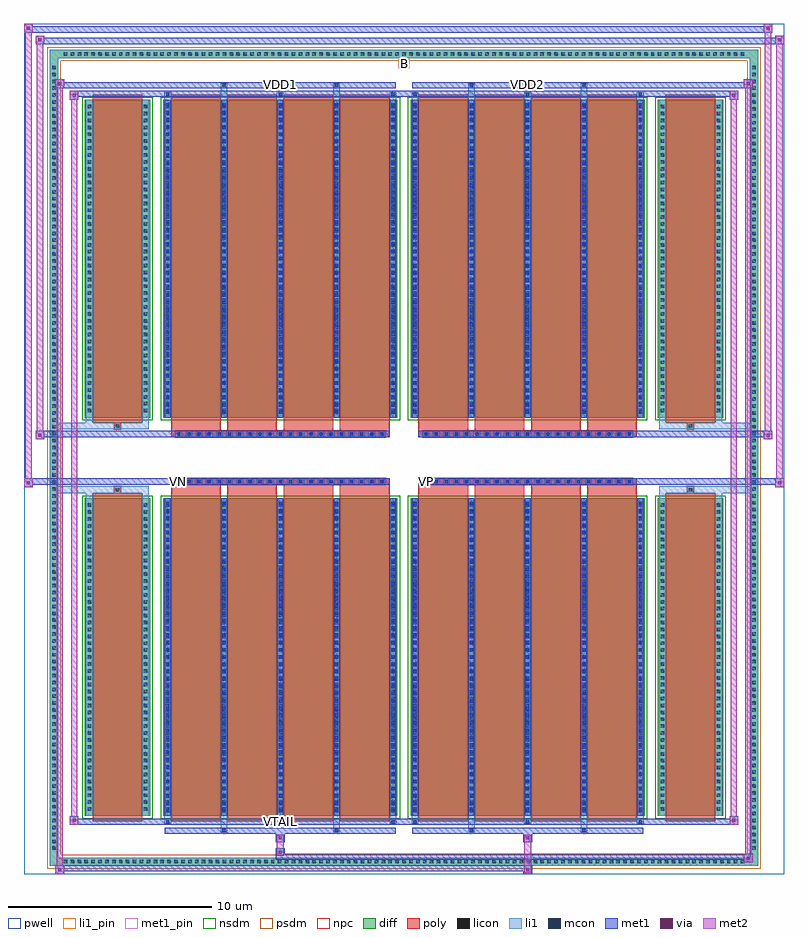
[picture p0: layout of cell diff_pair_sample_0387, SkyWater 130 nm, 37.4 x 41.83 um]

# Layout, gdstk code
import gdstk
lib = gdstk.Library(unit=1e-6, precision=5e-09)
def R(c, l, rs):  # rectangles x0, y0, x1, y1
    for r in rs: c.add(gdstk.rectangle(r[:2], r[2:], *l))
def A(c, l, x, y, w, h, nx, ny, dx, dy):  # array of equal rectangles
    R(c, l, [(x+i*dx, y+j*dy, x+i*dx+w, y+j*dy+h) for i in range(nx) for j in range(ny)])
def P(c, l, *ps):  # polygons
    for p in ps: c.add(gdstk.Polygon(p, *l))
pwell = (64, 44)
diff = (65, 20)
poly = (66, 20)
licon = (66, 44)
li1_pin = (67, 16)
li1 = (67, 20)
mcon = (67, 44)
met1_pin = (68, 16)
met1 = (68, 20)
via = (68, 44)
met2 = (69, 20)
nsdm = (93, 44)
psdm = (94, 20)
npc = (95, 20)

diff_pair_sample_0387 = lib.new_cell('diff_pair_sample_0387')
R(diff_pair_sample_0387, pwell, [(-18.7,-20.48,18.7,21.35), (-16.02,-18.67,-0.01,-0.805), (0.01,-18.67,16.02,-0.805), (-16.02,0.805,-0.01,18.67), (0.01,0.805,16.02,18.67)])
A(diff_pair_sample_0387, diff, -16.865, -20.08, 0.41, 0.41, 99, 2, 0.34, 39.75)
A(diff_pair_sample_0387, diff, -17.43, -19.415, 0.41, 0.41, 1, 114, 0, 0.34)
A(diff_pair_sample_0387, diff, 17.02, -19.415, 0.41, 0.41, 1, 114, 0, 0.34)
R(diff_pair_sample_0387, diff, [(-16.865,-20.08,16.865,-19.67), (-17.43,-19.415,-17.02,19.415), (17.02,-19.415,17.43,19.415), (-15.71,-17.625,-12.49,-1.985), (-11.85,-17.625,-0.32,-1.985), (0.32,-17.625,11.85,-1.985), (12.49,-17.625,15.71,-1.985), (-15.71,1.985,-12.49,17.625), (-11.85,1.985,-0.32,17.625), (0.32,1.985,11.85,17.625), (12.49,1.985,15.71,17.625), (-16.865,19.67,16.865,20.08)])
P(diff_pair_sample_0387, diff, [(17.43,20.08),(-17.43,20.08),(-17.43,-19.67),(-17.02,-19.67),(-17.02,19.67),(17.02,19.67),(17.02,-19.67),(-17.02,-19.67),(-17.43,-19.67),(-17.43,-20.08),(17.43,-20.08)])
A(diff_pair_sample_0387, poly, -11.46, -17.875, 2.44, 16.14, 4, 2, 2.77, 19.61)
A(diff_pair_sample_0387, poly, 0.71, -17.875, 2.44, 16.14, 4, 2, 2.77, 19.61)
A(diff_pair_sample_0387, poly, -11.46, -1.735, 2.44, 0.4, 4, 2, 2.77, 3.07)
A(diff_pair_sample_0387, poly, 0.71, -1.735, 2.44, 0.4, 4, 2, 2.77, 3.07)
A(diff_pair_sample_0387, poly, -11.25, -1.335, 0.33, 0.33, 21, 2, 0.5, 2.34)
A(diff_pair_sample_0387, poly, 0.92, -1.335, 0.33, 0.33, 21, 2, 0.5, 2.34)
R(diff_pair_sample_0387, poly, [(-15.32,-17.875,-12.88,-1.735), (12.88,-17.875,15.32,-1.735), (-14.265,-1.735,-13.935,-1.405), (-14.265,-1.735,-13.935,-1.405), (13.935,-1.735,14.265,-1.405), (13.935,-1.735,14.265,-1.405), (-11.46,-1.335,-0.71,-1.005), (0.71,-1.335,11.46,-1.005), (-11.46,1.005,-0.71,1.335), (0.71,1.005,11.46,1.335), (-14.265,1.405,-13.935,1.735), (-14.265,1.405,-13.935,1.735), (13.935,1.405,14.265,1.735), (13.935,1.405,14.265,1.735), (-15.32,1.735,-12.88,17.875), (12.88,1.735,15.32,17.875)])
A(diff_pair_sample_0387, licon, -16.745, -19.96, 0.17, 0.17, 99, 2, 0.34, 39.75)
A(diff_pair_sample_0387, licon, -17.31, -19.295, 0.17, 0.17, 1, 114, 0, 0.34)
A(diff_pair_sample_0387, licon, 17.14, -19.295, 0.17, 0.17, 1, 114, 0, 0.34)
A(diff_pair_sample_0387, licon, -15.57, -17.37, 0.17, 0.17, 1, 45, 0, 0.34)
A(diff_pair_sample_0387, licon, -12.8, -17.37, 0.17, 0.17, 1, 45, 0, 0.34)
A(diff_pair_sample_0387, licon, -11.71, -17.37, 0.17, 0.17, 5, 45, 2.77, 0.34)
A(diff_pair_sample_0387, licon, 0.46, -17.37, 0.17, 0.17, 5, 45, 2.77, 0.34)
A(diff_pair_sample_0387, licon, 12.63, -17.37, 0.17, 0.17, 1, 45, 0, 0.34)
A(diff_pair_sample_0387, licon, 15.4, -17.37, 0.17, 0.17, 1, 45, 0, 0.34)
A(diff_pair_sample_0387, licon, -11.17, -1.255, 0.17, 0.17, 21, 2, 0.5, 2.34)
A(diff_pair_sample_0387, licon, 1, -1.255, 0.17, 0.17, 21, 2, 0.5, 2.34)
A(diff_pair_sample_0387, licon, -15.57, 2.24, 0.17, 0.17, 1, 45, 0, 0.34)
A(diff_pair_sample_0387, licon, -12.8, 2.24, 0.17, 0.17, 1, 45, 0, 0.34)
A(diff_pair_sample_0387, licon, -11.71, 2.24, 0.17, 0.17, 5, 45, 2.77, 0.34)
A(diff_pair_sample_0387, licon, 0.46, 2.24, 0.17, 0.17, 5, 45, 2.77, 0.34)
A(diff_pair_sample_0387, licon, 12.63, 2.24, 0.17, 0.17, 1, 45, 0, 0.34)
A(diff_pair_sample_0387, licon, 15.4, 2.24, 0.17, 0.17, 1, 45, 0, 0.34)
R(diff_pair_sample_0387, licon, [(-14.185,-1.655,-14.015,-1.485), (14.015,-1.655,14.185,-1.485), (-14.185,1.485,-14.015,1.655), (14.015,1.485,14.185,1.655)])
R(diff_pair_sample_0387, li1_pin, [(-0.25,19.17,0.25,19.67)])
A(diff_pair_sample_0387, li1, -16.825, -20.04, 0.33, 0.33, 99, 2, 0.34, 39.75)
A(diff_pair_sample_0387, li1, -17.39, -19.375, 0.33, 0.33, 1, 114, 0, 0.34)
A(diff_pair_sample_0387, li1, 17.06, -19.375, 0.33, 0.33, 1, 114, 0, 0.34)
A(diff_pair_sample_0387, li1, -11.79, -18, 0.33, 0.375, 3, 2, 5.54, 35.625)
A(diff_pair_sample_0387, li1, -11.71, -18, 0.17, 0.17, 3, 2, 5.54, 35.83)
A(diff_pair_sample_0387, li1, 0.38, -18, 0.33, 0.375, 3, 2, 5.54, 35.625)
A(diff_pair_sample_0387, li1, 0.46, -18, 0.17, 0.17, 3, 2, 5.54, 35.83)
A(diff_pair_sample_0387, li1, -11.79, -17.625, 0.33, 15.64, 5, 2, 2.77, 19.61)
A(diff_pair_sample_0387, li1, 0.38, -17.625, 0.33, 15.64, 5, 2, 2.77, 19.61)
A(diff_pair_sample_0387, li1, -15.65, -17.45, 0.33, 0.33, 1, 45, 0, 0.34)
A(diff_pair_sample_0387, li1, -12.88, -17.45, 0.33, 0.33, 1, 45, 0, 0.34)
A(diff_pair_sample_0387, li1, -11.79, -17.45, 0.33, 0.33, 5, 45, 2.77, 0.34)
A(diff_pair_sample_0387, li1, -11.71, -17.45, 0.17, 0.17, 5, 43, 2.77, 0.36)
A(diff_pair_sample_0387, li1, -11.71, -17.45, 0.17, 15.29, 5, 2, 2.77, 19.61)
A(diff_pair_sample_0387, li1, 0.38, -17.45, 0.33, 0.33, 5, 45, 2.77, 0.34)
A(diff_pair_sample_0387, li1, 0.46, -17.45, 0.17, 0.17, 5, 43, 2.77, 0.36)
A(diff_pair_sample_0387, li1, 0.46, -17.45, 0.17, 15.29, 5, 2, 2.77, 19.61)
A(diff_pair_sample_0387, li1, 12.55, -17.45, 0.33, 0.33, 1, 45, 0, 0.34)
A(diff_pair_sample_0387, li1, 15.32, -17.45, 0.33, 0.33, 1, 45, 0, 0.34)
A(diff_pair_sample_0387, li1, -11.25, -1.335, 0.33, 0.33, 21, 2, 0.5, 2.34)
A(diff_pair_sample_0387, li1, 0.92, -1.335, 0.33, 0.33, 21, 2, 0.5, 2.34)
A(diff_pair_sample_0387, li1, -15.65, 2.16, 0.33, 0.33, 1, 45, 0, 0.34)
A(diff_pair_sample_0387, li1, -12.88, 2.16, 0.33, 0.33, 1, 45, 0, 0.34)
A(diff_pair_sample_0387, li1, -11.79, 2.16, 0.33, 0.33, 5, 45, 2.77, 0.34)
A(diff_pair_sample_0387, li1, -11.71, 2.16, 0.17, 0.17, 5, 43, 2.77, 0.36)
A(diff_pair_sample_0387, li1, 0.38, 2.16, 0.33, 0.33, 5, 45, 2.77, 0.34)
A(diff_pair_sample_0387, li1, 0.46, 2.16, 0.17, 0.17, 5, 43, 2.77, 0.36)
A(diff_pair_sample_0387, li1, 12.55, 2.16, 0.33, 0.33, 1, 45, 0, 0.34)
A(diff_pair_sample_0387, li1, 15.32, 2.16, 0.33, 0.33, 1, 45, 0, 0.34)
R(diff_pair_sample_0387, li1, [(-17.43,-20.08,-17.02,-19.67), (-17.43,-20.08,-17.02,-19.67), (-17.02,-20.08,17.02,-19.67), (17.02,-20.08,17.43,-19.67), (17.02,-20.08,17.43,-19.67), (-17.43,-19.67,-17.02,19.67), (17.02,-19.67,17.43,19.67), (-9.02,-18.43,-8.69,-17.625), (-8.94,-18.43,-8.77,-18.26), (-3.48,-18.43,-3.15,-17.625), (-3.4,-18.43,-3.23,-18.26), (3.15,-18.43,3.48,-17.625), (3.23,-18.43,3.4,-18.26), (8.69,-18.43,9.02,-17.625), (8.77,-18.43,8.94,-18.26), (-15.65,-17.625,-15.32,-1.985), (-12.88,-17.625,-12.55,-1.985), (12.55,-17.625,12.88,-1.985), (15.32,-17.625,15.65,-1.985), (-15.65,-1.985,-15.32,-1.405), (-12.88,-1.985,-12.55,-1.405), (12.55,-1.985,12.88,-1.405), (15.32,-1.985,15.65,-1.405), (-17.43,-1.735,-14.265,-1.405), (-15.65,-1.735,-14.265,-1.405), (-14.265,-1.735,-13.935,-1.405), (-13.935,-1.735,-12.55,-1.405), (12.55,-1.735,13.935,-1.405), (13.935,-1.735,14.265,-1.405), (13.935,-1.735,17.43,-1.405), (14.265,-1.735,15.65,-1.405), (-17.43,1.405,-14.265,1.735), (-15.65,1.405,-14.265,1.735), (-15.65,1.405,-15.32,1.985), (-14.265,1.405,-13.935,1.735), (-13.935,1.405,-12.55,1.735), (-12.88,1.405,-12.55,1.985), (12.55,1.405,13.935,1.735), (12.55,1.405,12.88,1.985), (13.935,1.405,14.265,1.735), (13.935,1.405,17.43,1.735), (14.265,1.405,15.65,1.735), (15.32,1.405,15.65,1.985), (-15.65,1.985,-15.32,17.625), (-12.88,1.985,-12.55,17.625), (12.55,1.985,12.88,17.625), (15.32,1.985,15.65,17.625), (-9.02,17.625,-8.69,18.43), (-3.48,17.625,-3.15,18.43), (3.15,17.625,3.48,18.43), (8.69,17.625,9.02,18.43), (-8.94,18.26,-8.77,18.43), (-3.4,18.26,-3.23,18.43), (3.23,18.26,3.4,18.43), (8.77,18.26,8.94,18.43), (-17.43,19.67,-17.02,20.08), (-17.43,19.67,-17.02,20.08), (-17.02,19.67,17.02,20.08), (17.02,19.67,17.43,20.08), (17.02,19.67,17.43,20.08)])
A(diff_pair_sample_0387, mcon, -11.71, -18, 0.17, 0.17, 3, 2, 5.54, 35.83)
A(diff_pair_sample_0387, mcon, 0.46, -18, 0.17, 0.17, 3, 2, 5.54, 35.83)
A(diff_pair_sample_0387, mcon, -11.71, -17.45, 0.17, 0.17, 5, 43, 2.77, 0.36)
A(diff_pair_sample_0387, mcon, 0.46, -17.45, 0.17, 0.17, 5, 43, 2.77, 0.36)
A(diff_pair_sample_0387, mcon, -11.17, -1.255, 0.17, 0.17, 21, 2, 0.5, 2.34)
A(diff_pair_sample_0387, mcon, 1, -1.255, 0.17, 0.17, 21, 2, 0.5, 2.34)
A(diff_pair_sample_0387, mcon, -11.71, 2.16, 0.17, 0.17, 5, 43, 2.77, 0.36)
A(diff_pair_sample_0387, mcon, 0.46, 2.16, 0.17, 0.17, 5, 43, 2.77, 0.36)
R(diff_pair_sample_0387, mcon, [(-8.94,-18.43,-8.77,-18.26), (-3.4,-18.43,-3.23,-18.26), (3.23,-18.43,3.4,-18.26), (8.77,-18.43,8.94,-18.26), (-8.94,18.26,-8.77,18.43), (-3.4,18.26,-3.23,18.43), (3.23,18.26,3.4,18.43), (8.77,18.26,8.94,18.43)])
R(diff_pair_sample_0387, met1_pin, [(-6.22,-18.04,-5.95,-17.77), (-11.22,-1.295,-10.95,-1.025), (0.95,-1.295,1.22,-1.025), (-6.22,18.22,-5.95,18.49), (5.95,18.22,6.22,18.49)])
A(diff_pair_sample_0387, met1, -11.77, -18.06, 0.29, 0.29, 3, 2, 5.54, 35.83)
A(diff_pair_sample_0387, met1, 0.4, -18.06, 0.29, 0.29, 3, 2, 5.54, 35.83)
A(diff_pair_sample_0387, met1, -11.77, -17.625, 0.29, 15.64, 5, 2, 2.77, 19.61)
A(diff_pair_sample_0387, met1, 0.4, -17.625, 0.29, 15.64, 5, 2, 2.77, 19.61)
A(diff_pair_sample_0387, met1, -11.77, -17.51, 0.29, 0.29, 5, 43, 2.77, 0.36)
A(diff_pair_sample_0387, met1, 0.4, -17.51, 0.29, 0.29, 5, 43, 2.77, 0.36)
A(diff_pair_sample_0387, met1, -11.23, -1.315, 0.29, 0.29, 21, 2, 0.5, 2.34)
A(diff_pair_sample_0387, met1, 0.94, -1.315, 0.29, 0.29, 21, 2, 0.5, 2.34)
A(diff_pair_sample_0387, met1, -11.77, 2.1, 0.29, 0.29, 5, 43, 2.77, 0.36)
A(diff_pair_sample_0387, met1, 0.4, 2.1, 0.29, 0.29, 5, 43, 2.77, 0.36)
R(diff_pair_sample_0387, met1, [(-17.16,-20.48,-16.73,-20.05), (5.87,-20.48,6.3,-20.05), (-17.16,-20.34,6.3,-20.05), (16.73,-19.91,17.16,-19.48), (-6.3,-19.77,17.16,-19.48), (-6.3,-19.63,-5.87,-19.2), (-6.3,-18.92,-5.87,-18.49), (5.87,-18.92,6.3,-18.49), (-11.77,-18.49,-0.4,-18.2), (-9,-18.49,-8.71,-18.2), (-3.46,-18.49,-3.17,-18.2), (0.4,-18.49,11.77,-18.2), (3.17,-18.49,3.46,-18.2), (8.71,-18.49,9,-18.2), (-16.45,-18.06,-16.02,-17.63), (-16.45,-18.06,-11.77,-17.77), (-11.77,-18.06,-0.4,-17.77), (-0.4,-18.06,0.4,-17.77), (0.4,-18.06,11.77,-17.77), (11.77,-18.06,16.45,-17.77), (16.02,-18.06,16.45,-17.63), (-18.7,-1.435,-18.27,-1.005), (18.27,-1.435,18.7,-1.005), (-18.7,-1.335,-0.71,-1.005), (-11.46,-1.335,-0.71,-1.005), (0.71,-1.335,11.46,-1.005), (0.71,-1.335,18.7,-1.005), (-18.13,0.905,-17.7,1.335), (17.7,0.905,18.13,1.335), (-18.13,1.005,-11.46,1.335), (-11.46,1.005,-0.71,1.335), (0.71,1.005,11.46,1.335), (11.46,1.005,18.13,1.335), (-16.45,17.63,-16.02,18.06), (16.02,17.63,16.45,18.06), (-16.45,17.77,-11.77,18.06), (-11.77,17.77,-0.4,18.06), (-0.4,17.77,0.4,18.06), (0.4,17.77,11.77,18.06), (11.77,17.77,16.45,18.06), (-17.16,18.2,-16.73,18.63), (-17.16,18.2,-11.77,18.49), (-11.77,18.2,-0.4,18.49), (-9,18.2,-8.71,18.49), (-3.46,18.2,-3.17,18.49), (0.4,18.2,11.77,18.49), (3.17,18.2,3.46,18.49), (8.71,18.2,9,18.49), (11.77,18.2,17.16,18.49), (16.73,18.2,17.16,18.63), (-18.13,20.35,-17.7,20.78), (-18.13,20.35,-16.02,20.68), (-16.02,20.35,16.02,20.68), (16.02,20.35,18.7,20.68), (18.27,20.35,18.7,20.78), (-18.7,20.92,-18.27,21.35), (-18.7,20.92,-16.02,21.25), (-16.02,20.92,16.02,21.25), (16.02,20.92,18.13,21.25), (17.7,20.92,18.13,21.35)])
R(diff_pair_sample_0387, via, [(-17.02,-20.34,-16.87,-20.19), (6.01,-20.34,6.16,-20.19), (16.87,-19.77,17.02,-19.62), (-6.16,-19.49,-6.01,-19.34), (-6.16,-18.78,-6.01,-18.63), (6.01,-18.78,6.16,-18.63), (-16.31,-17.92,-16.16,-17.77), (16.16,-17.92,16.31,-17.77), (-18.56,-1.295,-18.41,-1.145), (18.41,-1.295,18.56,-1.145), (-17.99,1.045,-17.84,1.195), (17.84,1.045,17.99,1.195), (-16.31,17.77,-16.16,17.92), (16.16,17.77,16.31,17.92), (-17.02,18.34,-16.87,18.49), (16.87,18.34,17.02,18.49), (-17.99,20.49,-17.84,20.64), (18.41,20.49,18.56,20.64), (-18.56,21.06,-18.41,21.21), (17.84,21.06,17.99,21.21)])
R(diff_pair_sample_0387, met2, [(-17.16,-20.48,-16.73,-20.05), (-17.09,-20.48,-16.8,18.63), (-16.8,-20.48,-16.73,-20.05), (-17.11,-20.43,-16.78,-20.1), (5.92,-20.43,6.25,-20.1), (5.92,-20.1,6.25,-18.87), (16.73,-19.91,17.16,-19.48), (16.8,-19.91,17.09,18.63), (17.09,-19.91,17.16,-19.48), (16.78,-19.86,17.11,-19.53), (-6.25,-19.58,-5.92,-19.25), (-6.25,-19.25,-5.92,-18.87), (-6.25,-18.87,-5.92,-18.54), (5.92,-18.87,6.25,-18.54), (-16.45,-18.06,-16.02,-17.63), (-16.38,-18.06,-16.09,18.06), (-16.09,-18.06,-16.02,-17.63), (16.02,-18.06,16.45,-17.63), (16.09,-18.06,16.38,18.06), (16.38,-18.06,16.45,-17.63), (-16.4,-18.01,-16.07,-17.68), (16.07,-18.01,16.4,-17.68), (-18.7,-1.435,-18.27,-1.005), (-18.65,-1.435,-18.32,21.35), (-18.32,-1.435,-18.27,-1.005), (18.27,-1.435,18.7,-1.005), (18.32,-1.435,18.65,20.78), (18.65,-1.435,18.7,-1.005), (-18.65,-1.385,-18.32,-1.055), (18.32,-1.385,18.65,-1.055), (-18.13,0.905,-17.7,1.335), (-18.08,0.905,-17.75,20.78), (-17.75,0.905,-17.7,1.335), (17.7,0.905,18.13,1.335), (17.75,0.905,18.08,21.35), (18.08,0.905,18.13,1.335), (-18.08,0.955,-17.75,1.285), (17.75,0.955,18.08,1.285), (-16.45,17.63,-16.02,18.06), (-16.09,17.63,-16.02,18.06), (16.02,17.63,16.45,18.06), (16.38,17.63,16.45,18.06), (-16.4,17.68,-16.07,18.01), (16.07,17.68,16.4,18.01), (-17.16,18.2,-16.73,18.63), (-16.8,18.2,-16.73,18.63), (16.73,18.2,17.16,18.63), (17.09,18.2,17.16,18.63), (-17.11,18.25,-16.78,18.58), (16.78,18.25,17.11,18.58), (-18.13,20.35,-17.7,20.78), (-17.75,20.35,-17.7,20.78), (18.27,20.35,18.7,20.78), (18.65,20.35,18.7,20.78), (-18.08,20.4,-17.75,20.73), (18.32,20.4,18.65,20.73), (-18.7,20.92,-18.27,21.35), (-18.32,20.92,-18.27,21.35), (17.7,20.92,18.13,21.35), (18.08,20.92,18.13,21.35), (-18.65,20.97,-18.32,21.3), (17.75,20.97,18.08,21.3)])
R(diff_pair_sample_0387, nsdm, [(-15.84,-17.755,-12.36,-1.855), (-11.98,-17.755,-0.19,-1.855), (0.19,-17.755,11.98,-1.855), (12.36,-17.755,15.84,-1.855), (-15.84,1.855,-12.36,17.755), (-11.98,1.855,-0.19,17.755), (0.19,1.855,11.98,17.755), (12.36,1.855,15.84,17.755)])
P(diff_pair_sample_0387, psdm, [(17.56,20.21),(-17.56,20.21),(-17.56,-19.54),(-16.89,-19.54),(-16.89,19.54),(16.89,19.54),(16.89,-19.54),(-16.89,-19.54),(-17.56,-19.54),(-17.56,-20.21),(17.56,-20.21)])
A(diff_pair_sample_0387, npc, -11.27, -1.355, 0.37, 0.37, 21, 2, 0.5, 2.34)
A(diff_pair_sample_0387, npc, 0.9, -1.355, 0.37, 0.37, 21, 2, 0.5, 2.34)
R(diff_pair_sample_0387, npc, [(-14.285,-1.755,-13.915,-1.385), (13.915,-1.755,14.285,-1.385), (-11.27,-1.355,-10.4,-0.985), (-11.27,-1.355,-10.4,-0.985), (-10.77,-1.355,-9.9,-0.985), (-10.77,-1.355,-9.9,-0.985), (-10.27,-1.355,-9.4,-0.985), (-10.27,-1.355,-9.4,-0.985), (-9.77,-1.355,-8.9,-0.985), (-9.77,-1.355,-8.9,-0.985), (-9.27,-1.355,-8.4,-0.985), (-9.27,-1.355,-8.4,-0.985), (-8.77,-1.355,-7.9,-0.985), (-8.77,-1.355,-7.9,-0.985), (-8.27,-1.355,-7.4,-0.985), (-8.27,-1.355,-7.4,-0.985), (-7.77,-1.355,-6.9,-0.985), (-7.77,-1.355,-6.9,-0.985), (-7.27,-1.355,-6.4,-0.985), (-7.27,-1.355,-6.4,-0.985), (-6.77,-1.355,-5.9,-0.985), (-6.77,-1.355,-5.9,-0.985), (-6.27,-1.355,-5.4,-0.985), (-6.27,-1.355,-5.4,-0.985), (-5.77,-1.355,-4.9,-0.985), (-5.77,-1.355,-4.9,-0.985), (-5.27,-1.355,-4.4,-0.985), (-5.27,-1.355,-4.4,-0.985), (-4.77,-1.355,-3.9,-0.985), (-4.77,-1.355,-3.9,-0.985), (-4.27,-1.355,-3.4,-0.985), (-4.27,-1.355,-3.4,-0.985), (-3.77,-1.355,-2.9,-0.985), (-3.77,-1.355,-2.9,-0.985), (-3.27,-1.355,-2.4,-0.985), (-3.27,-1.355,-2.4,-0.985), (-2.77,-1.355,-1.9,-0.985), (-2.77,-1.355,-1.9,-0.985), (-2.27,-1.355,-1.4,-0.985), (-2.27,-1.355,-1.4,-0.985), (-1.77,-1.355,-0.9,-0.985), (-1.77,-1.355,-0.9,-0.985), (0.9,-1.355,1.77,-0.985), (0.9,-1.355,1.77,-0.985), (1.4,-1.355,2.27,-0.985), (1.4,-1.355,2.27,-0.985), (1.9,-1.355,2.77,-0.985), (1.9,-1.355,2.77,-0.985), (2.4,-1.355,3.27,-0.985), (2.4,-1.355,3.27,-0.985), (2.9,-1.355,3.77,-0.985), (2.9,-1.355,3.77,-0.985), (3.4,-1.355,4.27,-0.985), (3.4,-1.355,4.27,-0.985), (3.9,-1.355,4.77,-0.985), (3.9,-1.355,4.77,-0.985), (4.4,-1.355,5.27,-0.985), (4.4,-1.355,5.27,-0.985), (4.9,-1.355,5.77,-0.985), (4.9,-1.355,5.77,-0.985), (5.4,-1.355,6.27,-0.985), (5.4,-1.355,6.27,-0.985), (5.9,-1.355,6.77,-0.985), (5.9,-1.355,6.77,-0.985), (6.4,-1.355,7.27,-0.985), (6.4,-1.355,7.27,-0.985), (6.9,-1.355,7.77,-0.985), (6.9,-1.355,7.77,-0.985), (7.4,-1.355,8.27,-0.985), (7.4,-1.355,8.27,-0.985), (7.9,-1.355,8.77,-0.985), (7.9,-1.355,8.77,-0.985), (8.4,-1.355,9.27,-0.985), (8.4,-1.355,9.27,-0.985), (8.9,-1.355,9.77,-0.985), (8.9,-1.355,9.77,-0.985), (9.4,-1.355,10.27,-0.985), (9.4,-1.355,10.27,-0.985), (9.9,-1.355,10.77,-0.985), (9.9,-1.355,10.77,-0.985), (10.4,-1.355,11.27,-0.985), (10.4,-1.355,11.27,-0.985), (-11.27,0.985,-10.4,1.355), (-11.27,0.985,-10.4,1.355), (-10.77,0.985,-9.9,1.355), (-10.77,0.985,-9.9,1.355), (-10.27,0.985,-9.4,1.355), (-10.27,0.985,-9.4,1.355), (-9.77,0.985,-8.9,1.355), (-9.77,0.985,-8.9,1.355), (-9.27,0.985,-8.4,1.355), (-9.27,0.985,-8.4,1.355), (-8.77,0.985,-7.9,1.355), (-8.77,0.985,-7.9,1.355), (-8.27,0.985,-7.4,1.355), (-8.27,0.985,-7.4,1.355), (-7.77,0.985,-6.9,1.355), (-7.77,0.985,-6.9,1.355), (-7.27,0.985,-6.4,1.355), (-7.27,0.985,-6.4,1.355), (-6.77,0.985,-5.9,1.355), (-6.77,0.985,-5.9,1.355), (-6.27,0.985,-5.4,1.355), (-6.27,0.985,-5.4,1.355), (-5.77,0.985,-4.9,1.355), (-5.77,0.985,-4.9,1.355), (-5.27,0.985,-4.4,1.355), (-5.27,0.985,-4.4,1.355), (-4.77,0.985,-3.9,1.355), (-4.77,0.985,-3.9,1.355), (-4.27,0.985,-3.4,1.355), (-4.27,0.985,-3.4,1.355), (-3.77,0.985,-2.9,1.355), (-3.77,0.985,-2.9,1.355), (-3.27,0.985,-2.4,1.355), (-3.27,0.985,-2.4,1.355), (-2.77,0.985,-1.9,1.355), (-2.77,0.985,-1.9,1.355), (-2.27,0.985,-1.4,1.355), (-2.27,0.985,-1.4,1.355), (-1.77,0.985,-0.9,1.355), (-1.77,0.985,-0.9,1.355), (0.9,0.985,1.77,1.355), (0.9,0.985,1.77,1.355), (1.4,0.985,2.27,1.355), (1.4,0.985,2.27,1.355), (1.9,0.985,2.77,1.355), (1.9,0.985,2.77,1.355), (2.4,0.985,3.27,1.355), (2.4,0.985,3.27,1.355), (2.9,0.985,3.77,1.355), (2.9,0.985,3.77,1.355), (3.4,0.985,4.27,1.355), (3.4,0.985,4.27,1.355), (3.9,0.985,4.77,1.355), (3.9,0.985,4.77,1.355), (4.4,0.985,5.27,1.355), (4.4,0.985,5.27,1.355), (4.9,0.985,5.77,1.355), (4.9,0.985,5.77,1.355), (5.4,0.985,6.27,1.355), (5.4,0.985,6.27,1.355), (5.9,0.985,6.77,1.355), (5.9,0.985,6.77,1.355), (6.4,0.985,7.27,1.355), (6.4,0.985,7.27,1.355), (6.9,0.985,7.77,1.355), (6.9,0.985,7.77,1.355), (7.4,0.985,8.27,1.355), (7.4,0.985,8.27,1.355), (7.9,0.985,8.77,1.355), (7.9,0.985,8.77,1.355), (8.4,0.985,9.27,1.355), (8.4,0.985,9.27,1.355), (8.9,0.985,9.77,1.355), (8.9,0.985,9.77,1.355), (9.4,0.985,10.27,1.355), (9.4,0.985,10.27,1.355), (9.9,0.985,10.77,1.355), (9.9,0.985,10.77,1.355), (10.4,0.985,11.27,1.355), (10.4,0.985,11.27,1.355), (-14.285,1.385,-13.915,1.755), (13.915,1.385,14.285,1.755)])
diff_pair_sample_0387.add(gdstk.Label('VTAIL', (-6.085,-17.905), layer=68, texttype=5))
diff_pair_sample_0387.add(gdstk.Label('VN', (-11.085,-1.16), layer=68, texttype=5))
diff_pair_sample_0387.add(gdstk.Label('VP', (1.085,-1.16), layer=68, texttype=5))
diff_pair_sample_0387.add(gdstk.Label('B', (0,19.42), layer=67, texttype=5))
diff_pair_sample_0387.add(gdstk.Label('VDD2', (6.085,18.355), layer=68, texttype=5))
diff_pair_sample_0387.add(gdstk.Label('VDD1', (-6.085,18.355), layer=68, texttype=5))

lib.write_gds('diff_pair_sample_0387.gds')
